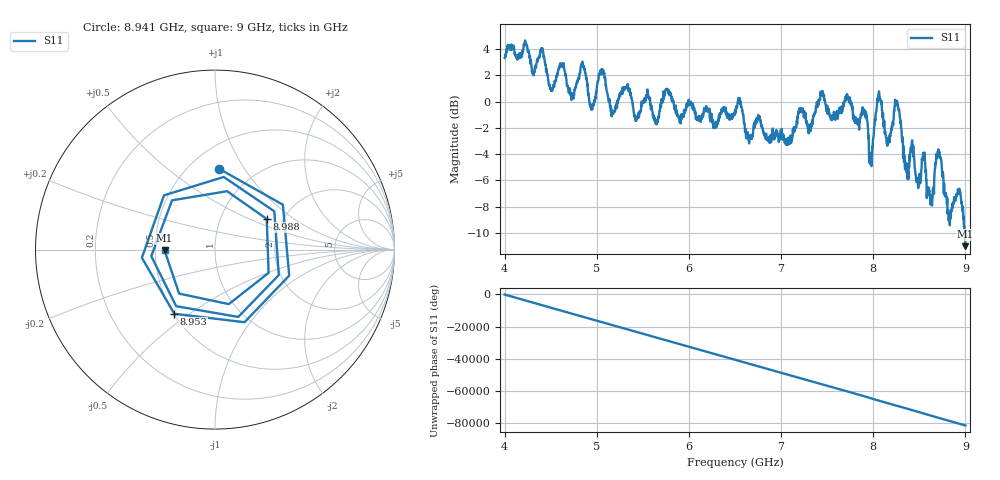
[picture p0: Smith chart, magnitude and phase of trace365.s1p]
! Created with skrf 1.8.0 (http://scikit-rf.org).
# Hz S RI R 50.0
!freq ReS11 ImS11
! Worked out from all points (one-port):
!   1601 points, 4 GHz to 9 GHz, reference 50 ohm
!   lowest |S11| = -11.0 dB at 9 GHz (marker M1), VSWR 1.78, Z = 28.1 - j0.235 ohm
!   |S11| at or under -10 dB: 8.993284 GHz to 8.996932 GHz (3.647 MHz wide, 0.0405 % of centre); 8.997005 GHz to end of sweep
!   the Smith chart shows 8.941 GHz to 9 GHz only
!   S11 on the Smith chart (normalised r, x): 8.941 GHz: 0.69, +0.78; 8.953 GHz: 0.50, -0.44; 8.988 GHz: 1.66, +0.64; 9 GHz: 0.56, -0.00
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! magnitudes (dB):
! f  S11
! 4 GHz  3.3
! 4.406 GHz  3.9
! 4.512 GHz  0.8
! 4.625 GHz  2.9
! 4.728 GHz  0.6
! 4.853 GHz  2.6
! 4.944 GHz  -0.5
! 5.05 GHz  2.1
! 5.169 GHz  -0.8
! 5.25 GHz  0.6
! 5.875 GHz  -1.0
! 6.5 GHz  -0.6
! 7.125 GHz  -2.6
! 7.75 GHz  0.0
! 7.909 GHz  -0.7
! 7.972 GHz  -4.3
! 8.059 GHz  0.4
! 8.159 GHz  -3.0
! 8.259 GHz  0.0
! 8.375 GHz  -5.5
! 8.547 GHz  -4.4
! 8.634 GHz  -7.7
! 8.709 GHz  -3.7
! 8.825 GHz  -8.5
! 8.941 GHz  -6.9
! 8.953 GHz  -7.5
! 8.988 GHz  -9.5
! 9 GHz  -11.0
